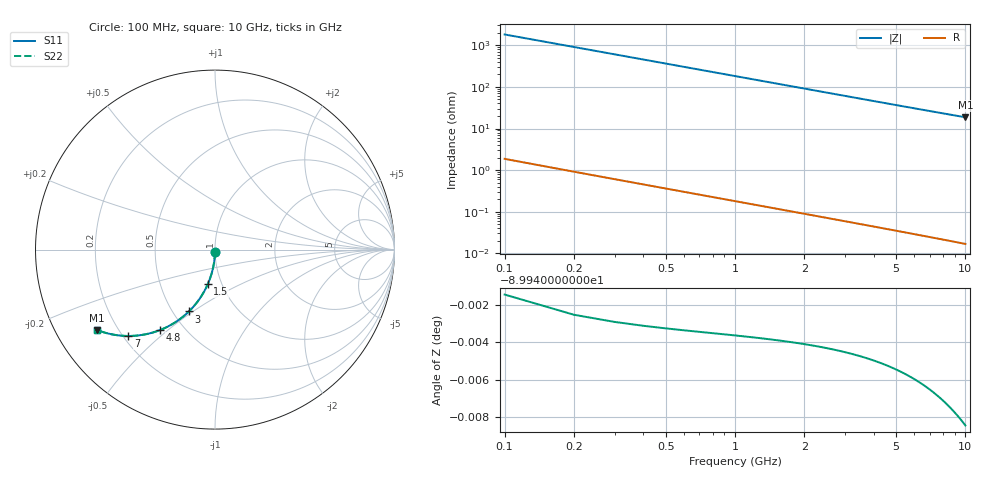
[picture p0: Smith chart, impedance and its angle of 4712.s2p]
# Hz S RI R 50.00
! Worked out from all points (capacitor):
!   100 points, 100 MHz to 10 GHz, reference 50 ohm
!   read as one part in shunt: C = 873 fF near 100 MHz
!   lowest |Z| = 18.6 ohm at 10 GHz (marker M1)
!   S11 on the Smith chart (normalised r, x): 100 MHz: 1.00, -0.03; 1.5 GHz: 0.86, -0.35; 3 GHz: 0.60, -0.48; 4.8 GHz: 0.37, -0.47; 7 GHz: 0.22, -0.40; 10 GHz: 0.12, -0.30
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1e8  -0.000142 -0.0135  0.9997 -0.014  0.9997 -0.014  -0.000142 -0.0135
2e8  -0.000718 -0.0269  0.9992 -0.0279  0.9992 -0.0279  -0.000718 -0.0269
3e8  -0.00167 -0.0403  0.9982 -0.0418  0.9982 -0.0418  -0.00167 -0.0403
4e8  -0.00299 -0.0537  0.9969 -0.0557  0.9969 -0.0557  -0.00299 -0.0537
5e8  -0.00468 -0.067  0.9952 -0.0695  0.9952 -0.0695  -0.00468 -0.067
6e8  -0.00674 -0.0802  0.9931 -0.0832  0.9931 -0.0832  -0.00674 -0.0802
7e8  -0.00915 -0.0933  0.9907 -0.0968  0.9907 -0.0968  -0.00915 -0.0933
9e8  -0.015 -0.1192  0.9848 -0.1238  0.9848 -0.1238  -0.015 -0.1192
1.2e9  -0.0264 -0.1571  0.9734 -0.1632  0.9734 -0.1632  -0.0264 -0.1571
1.5e9  -0.0407 -0.1935  0.9591 -0.2011  0.9591 -0.2011  -0.0407 -0.1935
1.8e9  -0.0576 -0.2281  0.9423 -0.2372  0.9423 -0.2372  -0.0576 -0.2281
2.4e9  -0.098 -0.2909  0.9018 -0.303  0.9018 -0.303  -0.098 -0.2909
3e9  -0.1452 -0.3443  0.8546 -0.3595  0.8546 -0.3595  -0.1452 -0.3443
3.4e9  -0.1792 -0.3745  0.8205 -0.3917  0.8205 -0.3917  -0.1792 -0.3745
4.1e9  -0.2412 -0.417  0.7585 -0.4378  0.7585 -0.4378  -0.2412 -0.417
4.8e9  -0.3037 -0.4472  0.6958 -0.4717  0.6958 -0.4717  -0.3037 -0.4472
5.1e9  -0.3301 -0.4568  0.6694 -0.4829  0.6694 -0.4829  -0.3301 -0.4568
5.9e9  -0.3979 -0.4739  0.6015 -0.5041  0.6015 -0.5041  -0.3979 -0.4739
6.7e9  -0.4606 -0.4807  0.5386 -0.5152  0.5386 -0.5152  -0.4606 -0.4807
7e9  -0.4827 -0.4812  0.5165 -0.5172  0.5165 -0.5172  -0.4827 -0.4812
8.4e9  -0.5744 -0.4721  0.4245 -0.5156  0.4245 -0.5156  -0.5744 -0.4721
1e10  -0.658 -0.4475  0.3405 -0.4998  0.3405 -0.4998  -0.658 -0.4475
